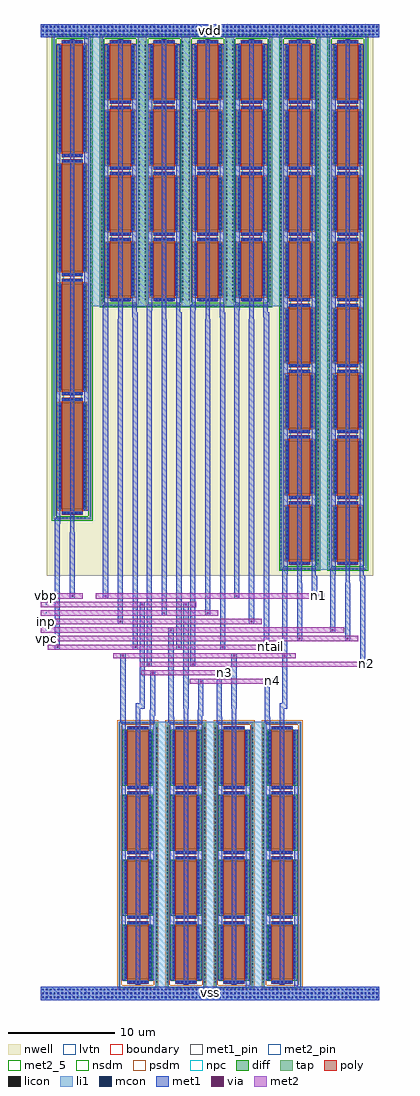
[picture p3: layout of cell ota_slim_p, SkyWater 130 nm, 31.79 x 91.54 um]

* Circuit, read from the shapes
.subckt ota_slim_p inn inp n1 n2 n3 n4 nc1 ntail out vbp vdd vnc vpc vss
XM1 n3 vnc nc1 vss sky130_fd_pr__nfet_01v8 w=5 l=2 m=4
XM2 n4 vnc out vss sky130_fd_pr__nfet_01v8 w=5 l=2 m=4
XM3 vss nc1 n3 vss sky130_fd_pr__nfet_01v8 w=5 l=2 m=4
XM4 vss nc1 n4 vss sky130_fd_pr__nfet_01v8 w=5 l=2 m=4
XM5 vdd vbp ntail vdd sky130_fd_pr__pfet_01v8 w=10 l=2 m=4
XM6 ntail inp n1 vdd sky130_fd_pr__pfet_01v8_lvt w=5 l=2 m=8
XM7 ntail inn n2 vdd sky130_fd_pr__pfet_01v8_lvt w=5 l=2 m=8
XM8 n1 vpc nc1 vdd sky130_fd_pr__pfet_01v8_lvt w=5 l=2 m=8
XM9 n2 vpc out vdd sky130_fd_pr__pfet_01v8_lvt w=5 l=2 m=8
.ends

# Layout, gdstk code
import gdstk
lib = gdstk.Library(unit=1e-6, precision=1e-09)
def R(c, l, rs):  # rectangles x0, y0, x1, y1
    for r in rs: c.add(gdstk.rectangle(r[:2], r[2:], *l))
def A(c, l, x, y, w, h, nx, ny, dx, dy):  # array of equal rectangles
    R(c, l, [(x+i*dx, y+j*dy, x+i*dx+w, y+j*dy+h) for i in range(nx) for j in range(ny)])
nwell = (64, 20)
diff = (65, 20)
tap = (65, 44)
poly = (66, 20)
licon = (66, 44)
li1 = (67, 20)
mcon = (67, 44)
met1_pin = (68, 16)
met1 = (68, 20)
via = (68, 44)
met2_5 = (69, 5)
met2_pin = (69, 16)
met2 = (69, 20)
nsdm = (93, 44)
psdm = (94, 20)
npc = (95, 20)
lvtn = (125, 44)
boundary = (235, 4)

sky130_fd_pr__pfet_01v8_ = lib.new_cell('sky130_fd_pr__pfet_01v8_C2FLFE')
R(sky130_fd_pr__pfet_01v8_, nwell, [(-1.98,-22.865,1.98,22.865)])
A(sky130_fd_pr__pfet_01v8_, diff, -1.29, -21.77, 2.58, 10, 1, 4, 0, 11.18)
R(sky130_fd_pr__pfet_01v8_, tap, [(-1.8,-22.685,1.8,-22.515), (-1.8,-22.515,-1.63,22.515), (1.63,-22.515,1.8,22.515), (-1.8,22.515,1.8,22.685)])
A(sky130_fd_pr__pfet_01v8_, poly, -1, -22.255, 2, 10.97, 1, 4, 0, 11.18)
A(sky130_fd_pr__pfet_01v8_, licon, -1.275, -22.685, 0.17, 0.17, 8, 2, 0.34, 45.2)
A(sky130_fd_pr__pfet_01v8_, licon, -1.8, -22.185, 0.17, 0.17, 1, 131, 0, 0.34)
A(sky130_fd_pr__pfet_01v8_, licon, 1.63, -22.185, 0.17, 0.17, 1, 131, 0, 0.34)
A(sky130_fd_pr__pfet_01v8_, licon, -0.765, -22.175, 0.17, 0.17, 5, 2, 0.34, 10.64)
A(sky130_fd_pr__pfet_01v8_, licon, -1.23, -21.615, 0.17, 0.17, 1, 29, 0, 0.34)
A(sky130_fd_pr__pfet_01v8_, licon, 1.06, -21.615, 0.17, 0.17, 1, 29, 0, 0.34)
A(sky130_fd_pr__pfet_01v8_, licon, -0.765, -10.995, 0.17, 0.17, 5, 2, 0.34, 10.64)
A(sky130_fd_pr__pfet_01v8_, licon, -1.23, -10.435, 0.17, 0.17, 1, 29, 0, 0.34)
A(sky130_fd_pr__pfet_01v8_, licon, 1.06, -10.435, 0.17, 0.17, 1, 29, 0, 0.34)
A(sky130_fd_pr__pfet_01v8_, licon, -0.765, 0.185, 0.17, 0.17, 5, 2, 0.34, 10.64)
A(sky130_fd_pr__pfet_01v8_, licon, -1.23, 0.745, 0.17, 0.17, 1, 29, 0, 0.34)
A(sky130_fd_pr__pfet_01v8_, licon, 1.06, 0.745, 0.17, 0.17, 1, 29, 0, 0.34)
A(sky130_fd_pr__pfet_01v8_, licon, -0.765, 11.365, 0.17, 0.17, 5, 2, 0.34, 10.64)
A(sky130_fd_pr__pfet_01v8_, licon, -1.23, 11.925, 0.17, 0.17, 1, 29, 0, 0.34)
A(sky130_fd_pr__pfet_01v8_, licon, 1.06, 11.925, 0.17, 0.17, 1, 29, 0, 0.34)
A(sky130_fd_pr__pfet_01v8_, li1, -1.23, -21.79, 0.17, 10.04, 1, 4, 0, 11.18)
A(sky130_fd_pr__pfet_01v8_, li1, 1.06, -21.79, 0.17, 10.04, 1, 4, 0, 11.18)
R(sky130_fd_pr__pfet_01v8_, li1, [(-1.8,-22.685,1.8,-22.515), (-1.8,-22.515,-1.63,22.515), (1.63,-22.515,1.8,22.515), (-1,-22.175,1,-22.005), (-1,-11.535,1,-11.365), (-1,-10.995,1,-10.825), (-1,-0.355,1,-0.185), (-1,0.185,1,0.355), (-1,10.825,1,10.995), (-1,11.365,1,11.535), (-1,22.005,1,22.175), (-1.8,22.515,1.8,22.685)])
A(sky130_fd_pr__pfet_01v8_, mcon, -0.805, -22.175, 0.17, 0.17, 5, 2, 0.36, 10.64)
A(sky130_fd_pr__pfet_01v8_, mcon, -1.23, -21.535, 0.17, 0.17, 1, 27, 0, 0.36)
A(sky130_fd_pr__pfet_01v8_, mcon, 1.06, -21.535, 0.17, 0.17, 1, 27, 0, 0.36)
A(sky130_fd_pr__pfet_01v8_, mcon, -0.805, -10.995, 0.17, 0.17, 5, 2, 0.36, 10.64)
A(sky130_fd_pr__pfet_01v8_, mcon, -1.23, -10.355, 0.17, 0.17, 1, 27, 0, 0.36)
A(sky130_fd_pr__pfet_01v8_, mcon, 1.06, -10.355, 0.17, 0.17, 1, 27, 0, 0.36)
A(sky130_fd_pr__pfet_01v8_, mcon, -0.805, 0.185, 0.17, 0.17, 5, 2, 0.36, 10.64)
A(sky130_fd_pr__pfet_01v8_, mcon, -1.23, 0.825, 0.17, 0.17, 1, 27, 0, 0.36)
A(sky130_fd_pr__pfet_01v8_, mcon, 1.06, 0.825, 0.17, 0.17, 1, 27, 0, 0.36)
A(sky130_fd_pr__pfet_01v8_, mcon, -0.805, 11.365, 0.17, 0.17, 5, 2, 0.36, 10.64)
A(sky130_fd_pr__pfet_01v8_, mcon, -1.23, 12.005, 0.17, 0.17, 1, 27, 0, 0.36)
A(sky130_fd_pr__pfet_01v8_, mcon, 1.06, 12.005, 0.17, 0.17, 1, 27, 0, 0.36)
A(sky130_fd_pr__pfet_01v8_, met1, -1.26, -21.77, 0.23, 10, 1, 4, 0, 11.18)
A(sky130_fd_pr__pfet_01v8_, met1, 1.03, -21.77, 0.23, 10, 1, 4, 0, 11.18)
R(sky130_fd_pr__pfet_01v8_, met1, [(-0.98,-22.205,0.98,-21.975), (-0.98,-11.565,0.98,-11.335), (-0.98,-11.025,0.98,-10.795), (-0.98,-0.385,0.98,-0.155), (-0.98,0.155,0.98,0.385), (-0.98,10.795,0.98,11.025), (-0.98,11.335,0.98,11.565), (-0.98,21.975,0.98,22.205)])
R(sky130_fd_pr__pfet_01v8_, nsdm, [(-1.925,-22.81,1.925,-22.39), (-1.925,-22.39,-1.505,22.39), (1.505,-22.39,1.925,22.39), (-1.925,22.39,1.925,22.81)])
A(sky130_fd_pr__pfet_01v8_, psdm, -1.415, -21.895, 2.83, 10.25, 1, 4, 0, 11.18)
A(sky130_fd_pr__pfet_01v8_, npc, -0.865, -11.635, 1.73, 0.91, 1, 3, 0, 11.18)
R(sky130_fd_pr__pfet_01v8_, npc, [(-0.865,-22.275,0.865,-21.905), (-0.865,21.905,0.865,22.275)])
R(sky130_fd_pr__pfet_01v8_, boundary, [(-1.715,-22.6,1.715,22.6)])
sky130_fd_pr__pfet_01v8_.add(gdstk.Label('B', (0,-22.6), layer=67, texttype=5))
sky130_fd_pr__pfet_01v8_.add(gdstk.Label('D0', (-1.145,-16.77), layer=67, texttype=5))
sky130_fd_pr__pfet_01v8_.add(gdstk.Label('S0', (1.145,-16.77), layer=67, texttype=5))
sky130_fd_pr__pfet_01v8_.add(gdstk.Label('G0', (0,-11.45), layer=67, texttype=5))
sky130_fd_pr__pfet_01v8_.add(gdstk.Label('D1', (-1.145,-5.59), layer=67, texttype=5))
sky130_fd_pr__pfet_01v8_.add(gdstk.Label('S1', (1.145,-5.59), layer=67, texttype=5))
sky130_fd_pr__pfet_01v8_.add(gdstk.Label('G1', (0,-0.27), layer=67, texttype=5))
sky130_fd_pr__pfet_01v8_.add(gdstk.Label('D2', (-1.145,5.59), layer=67, texttype=5))
sky130_fd_pr__pfet_01v8_.add(gdstk.Label('S2', (1.145,5.59), layer=67, texttype=5))
sky130_fd_pr__pfet_01v8_.add(gdstk.Label('G2', (0,10.91), layer=67, texttype=5))
sky130_fd_pr__pfet_01v8_.add(gdstk.Label('D3', (-1.145,16.77), layer=67, texttype=5))
sky130_fd_pr__pfet_01v8_.add(gdstk.Label('S3', (1.145,16.77), layer=67, texttype=5))
sky130_fd_pr__pfet_01v8_.add(gdstk.Label('G3', (0,22.09), layer=67, texttype=5))

sky130_fd_pr__nfet_01v8_ = lib.new_cell('sky130_fd_pr__nfet_01v8_SKCTXS')
A(sky130_fd_pr__nfet_01v8_, diff, -1.29, -11.635, 2.58, 5, 1, 4, 0, 6.09)
R(sky130_fd_pr__nfet_01v8_, tap, [(-1.8,-12.505,1.8,-12.335), (-1.8,-12.335,-1.63,12.335), (1.63,-12.335,1.8,12.335), (-1.8,12.335,1.8,12.505)])
A(sky130_fd_pr__nfet_01v8_, poly, -1, -12.075, 2, 5.88, 1, 4, 0, 6.09)
A(sky130_fd_pr__nfet_01v8_, licon, -1.275, -12.505, 0.17, 0.17, 8, 2, 0.34, 24.84)
A(sky130_fd_pr__nfet_01v8_, licon, -0.765, -11.995, 0.17, 0.17, 5, 2, 0.34, 5.55)
A(sky130_fd_pr__nfet_01v8_, licon, -1.8, -11.985, 0.17, 0.17, 1, 71, 0, 0.34)
A(sky130_fd_pr__nfet_01v8_, licon, 1.63, -11.985, 0.17, 0.17, 1, 71, 0, 0.34)
A(sky130_fd_pr__nfet_01v8_, licon, -1.23, -11.43, 0.17, 0.17, 1, 14, 0, 0.34)
A(sky130_fd_pr__nfet_01v8_, licon, 1.06, -11.43, 0.17, 0.17, 1, 14, 0, 0.34)
A(sky130_fd_pr__nfet_01v8_, licon, -0.765, -5.905, 0.17, 0.17, 5, 2, 0.34, 5.55)
A(sky130_fd_pr__nfet_01v8_, licon, -1.23, -5.34, 0.17, 0.17, 1, 14, 0, 0.34)
A(sky130_fd_pr__nfet_01v8_, licon, 1.06, -5.34, 0.17, 0.17, 1, 14, 0, 0.34)
A(sky130_fd_pr__nfet_01v8_, licon, -0.765, 0.185, 0.17, 0.17, 5, 2, 0.34, 5.55)
A(sky130_fd_pr__nfet_01v8_, licon, -1.23, 0.75, 0.17, 0.17, 1, 14, 0, 0.34)
A(sky130_fd_pr__nfet_01v8_, licon, 1.06, 0.75, 0.17, 0.17, 1, 14, 0, 0.34)
A(sky130_fd_pr__nfet_01v8_, licon, -0.765, 6.275, 0.17, 0.17, 5, 2, 0.34, 5.55)
A(sky130_fd_pr__nfet_01v8_, licon, -1.23, 6.84, 0.17, 0.17, 1, 14, 0, 0.34)
A(sky130_fd_pr__nfet_01v8_, licon, 1.06, 6.84, 0.17, 0.17, 1, 14, 0, 0.34)
A(sky130_fd_pr__nfet_01v8_, li1, -1.23, -11.655, 0.17, 5.04, 1, 4, 0, 6.09)
A(sky130_fd_pr__nfet_01v8_, li1, 1.06, -11.655, 0.17, 5.04, 1, 4, 0, 6.09)
R(sky130_fd_pr__nfet_01v8_, li1, [(-1.8,-12.505,1.8,-12.335), (-1.8,-12.335,-1.63,12.335), (1.63,-12.335,1.8,12.335), (-1,-11.995,1,-11.825), (-1,-6.445,1,-6.275), (-1,-5.905,1,-5.735), (-1,-0.355,1,-0.185), (-1,0.185,1,0.355), (-1,5.735,1,5.905), (-1,6.275,1,6.445), (-1,11.825,1,11.995), (-1.8,12.335,1.8,12.505)])
A(sky130_fd_pr__nfet_01v8_, mcon, -0.805, -11.995, 0.17, 0.17, 5, 2, 0.36, 5.55)
A(sky130_fd_pr__nfet_01v8_, mcon, -1.23, -11.56, 0.17, 0.17, 1, 14, 0, 0.36)
A(sky130_fd_pr__nfet_01v8_, mcon, 1.06, -11.56, 0.17, 0.17, 1, 14, 0, 0.36)
A(sky130_fd_pr__nfet_01v8_, mcon, -0.805, -5.905, 0.17, 0.17, 5, 2, 0.36, 5.55)
A(sky130_fd_pr__nfet_01v8_, mcon, -1.23, -5.47, 0.17, 0.17, 1, 14, 0, 0.36)
A(sky130_fd_pr__nfet_01v8_, mcon, 1.06, -5.47, 0.17, 0.17, 1, 14, 0, 0.36)
A(sky130_fd_pr__nfet_01v8_, mcon, -0.805, 0.185, 0.17, 0.17, 5, 2, 0.36, 5.55)
A(sky130_fd_pr__nfet_01v8_, mcon, -1.23, 0.62, 0.17, 0.17, 1, 14, 0, 0.36)
A(sky130_fd_pr__nfet_01v8_, mcon, 1.06, 0.62, 0.17, 0.17, 1, 14, 0, 0.36)
A(sky130_fd_pr__nfet_01v8_, mcon, -0.805, 6.275, 0.17, 0.17, 5, 2, 0.36, 5.55)
A(sky130_fd_pr__nfet_01v8_, mcon, -1.23, 6.71, 0.17, 0.17, 1, 14, 0, 0.36)
A(sky130_fd_pr__nfet_01v8_, mcon, 1.06, 6.71, 0.17, 0.17, 1, 14, 0, 0.36)
A(sky130_fd_pr__nfet_01v8_, met1, -1.26, -11.635, 0.23, 5, 1, 4, 0, 6.09)
A(sky130_fd_pr__nfet_01v8_, met1, 1.03, -11.635, 0.23, 5, 1, 4, 0, 6.09)
R(sky130_fd_pr__nfet_01v8_, met1, [(-0.98,-12.025,0.98,-11.795), (-0.98,-6.475,0.98,-6.245), (-0.98,-5.935,0.98,-5.705), (-0.98,-0.385,0.98,-0.155), (-0.98,0.155,0.98,0.385), (-0.98,5.705,0.98,5.935), (-0.98,6.245,0.98,6.475), (-0.98,11.795,0.98,12.025)])
A(sky130_fd_pr__nfet_01v8_, nsdm, -1.415, -11.76, 2.83, 5.25, 1, 4, 0, 6.09)
R(sky130_fd_pr__nfet_01v8_, psdm, [(-1.925,-12.63,1.925,-12.21), (-1.925,-12.21,-1.505,12.21), (1.505,-12.21,1.925,12.21), (-1.925,12.21,1.925,12.63)])
A(sky130_fd_pr__nfet_01v8_, npc, -0.865, -6.545, 1.73, 0.91, 1, 3, 0, 6.09)
R(sky130_fd_pr__nfet_01v8_, npc, [(-0.865,-12.095,0.865,-11.725), (-0.865,11.725,0.865,12.095)])
R(sky130_fd_pr__nfet_01v8_, boundary, [(-1.715,-12.42,1.715,12.42)])
sky130_fd_pr__nfet_01v8_.add(gdstk.Label('B', (0,-12.42), layer=67, texttype=5))
sky130_fd_pr__nfet_01v8_.add(gdstk.Label('D0', (-1.145,-9.135), layer=67, texttype=5))
sky130_fd_pr__nfet_01v8_.add(gdstk.Label('S0', (1.145,-9.135), layer=67, texttype=5))
sky130_fd_pr__nfet_01v8_.add(gdstk.Label('G0', (0,-6.36), layer=67, texttype=5))
sky130_fd_pr__nfet_01v8_.add(gdstk.Label('D1', (-1.145,-3.045), layer=67, texttype=5))
sky130_fd_pr__nfet_01v8_.add(gdstk.Label('S1', (1.145,-3.045), layer=67, texttype=5))
sky130_fd_pr__nfet_01v8_.add(gdstk.Label('G1', (0,-0.27), layer=67, texttype=5))
sky130_fd_pr__nfet_01v8_.add(gdstk.Label('D2', (-1.145,3.045), layer=67, texttype=5))
sky130_fd_pr__nfet_01v8_.add(gdstk.Label('S2', (1.145,3.045), layer=67, texttype=5))
sky130_fd_pr__nfet_01v8_.add(gdstk.Label('G2', (0,5.82), layer=67, texttype=5))
sky130_fd_pr__nfet_01v8_.add(gdstk.Label('D3', (-1.145,9.135), layer=67, texttype=5))
sky130_fd_pr__nfet_01v8_.add(gdstk.Label('S3', (1.145,9.135), layer=67, texttype=5))
sky130_fd_pr__nfet_01v8_.add(gdstk.Label('G3', (0,11.91), layer=67, texttype=5))

c_sky130_fd_pr__pfet_01v8_ = lib.new_cell('sky130_fd_pr__pfet_01v8_lvt_K3L598')
R(c_sky130_fd_pr__pfet_01v8_, nwell, [(-1.98,-12.865,1.98,12.865)])
A(c_sky130_fd_pr__pfet_01v8_, diff, -1.29, -11.77, 2.58, 5, 1, 4, 0, 6.18)
R(c_sky130_fd_pr__pfet_01v8_, tap, [(-1.8,-12.685,1.8,-12.515), (-1.8,-12.515,-1.63,12.515), (1.63,-12.515,1.8,12.515), (-1.8,12.515,1.8,12.685)])
A(c_sky130_fd_pr__pfet_01v8_, poly, -1, -12.255, 2, 5.97, 1, 4, 0, 6.18)
A(c_sky130_fd_pr__pfet_01v8_, licon, -1.275, -12.685, 0.17, 0.17, 8, 2, 0.34, 25.2)
A(c_sky130_fd_pr__pfet_01v8_, licon, -0.765, -12.175, 0.17, 0.17, 5, 2, 0.34, 5.64)
A(c_sky130_fd_pr__pfet_01v8_, licon, -1.8, -12.155, 0.17, 0.17, 1, 72, 0, 0.34)
A(c_sky130_fd_pr__pfet_01v8_, licon, 1.63, -12.155, 0.17, 0.17, 1, 72, 0, 0.34)
A(c_sky130_fd_pr__pfet_01v8_, licon, -1.23, -11.565, 0.17, 0.17, 1, 14, 0, 0.34)
A(c_sky130_fd_pr__pfet_01v8_, licon, 1.06, -11.565, 0.17, 0.17, 1, 14, 0, 0.34)
A(c_sky130_fd_pr__pfet_01v8_, licon, -0.765, -5.995, 0.17, 0.17, 5, 2, 0.34, 5.64)
A(c_sky130_fd_pr__pfet_01v8_, licon, -1.23, -5.385, 0.17, 0.17, 1, 14, 0, 0.34)
A(c_sky130_fd_pr__pfet_01v8_, licon, 1.06, -5.385, 0.17, 0.17, 1, 14, 0, 0.34)
A(c_sky130_fd_pr__pfet_01v8_, licon, -0.765, 0.185, 0.17, 0.17, 5, 2, 0.34, 5.64)
A(c_sky130_fd_pr__pfet_01v8_, licon, -1.23, 0.795, 0.17, 0.17, 1, 14, 0, 0.34)
A(c_sky130_fd_pr__pfet_01v8_, licon, 1.06, 0.795, 0.17, 0.17, 1, 14, 0, 0.34)
A(c_sky130_fd_pr__pfet_01v8_, licon, -0.765, 6.365, 0.17, 0.17, 5, 2, 0.34, 5.64)
A(c_sky130_fd_pr__pfet_01v8_, licon, -1.23, 6.975, 0.17, 0.17, 1, 14, 0, 0.34)
A(c_sky130_fd_pr__pfet_01v8_, licon, 1.06, 6.975, 0.17, 0.17, 1, 14, 0, 0.34)
A(c_sky130_fd_pr__pfet_01v8_, li1, -1.23, -11.79, 0.17, 5.04, 1, 4, 0, 6.18)
A(c_sky130_fd_pr__pfet_01v8_, li1, 1.06, -11.79, 0.17, 5.04, 1, 4, 0, 6.18)
R(c_sky130_fd_pr__pfet_01v8_, li1, [(-1.8,-12.685,1.8,-12.515), (-1.8,-12.515,-1.63,12.515), (1.63,-12.515,1.8,12.515), (-1,-12.175,1,-12.005), (-1,-6.535,1,-6.365), (-1,-5.995,1,-5.825), (-1,-0.355,1,-0.185), (-1,0.185,1,0.355), (-1,5.825,1,5.995), (-1,6.365,1,6.535), (-1,12.005,1,12.175), (-1.8,12.515,1.8,12.685)])
A(c_sky130_fd_pr__pfet_01v8_, mcon, -0.805, -12.175, 0.17, 0.17, 5, 2, 0.36, 5.64)
A(c_sky130_fd_pr__pfet_01v8_, mcon, -1.23, -11.695, 0.17, 0.17, 1, 14, 0, 0.36)
A(c_sky130_fd_pr__pfet_01v8_, mcon, 1.06, -11.695, 0.17, 0.17, 1, 14, 0, 0.36)
A(c_sky130_fd_pr__pfet_01v8_, mcon, -0.805, -5.995, 0.17, 0.17, 5, 2, 0.36, 5.64)
A(c_sky130_fd_pr__pfet_01v8_, mcon, -1.23, -5.515, 0.17, 0.17, 1, 14, 0, 0.36)
A(c_sky130_fd_pr__pfet_01v8_, mcon, 1.06, -5.515, 0.17, 0.17, 1, 14, 0, 0.36)
A(c_sky130_fd_pr__pfet_01v8_, mcon, -0.805, 0.185, 0.17, 0.17, 5, 2, 0.36, 5.64)
A(c_sky130_fd_pr__pfet_01v8_, mcon, -1.23, 0.665, 0.17, 0.17, 1, 14, 0, 0.36)
A(c_sky130_fd_pr__pfet_01v8_, mcon, 1.06, 0.665, 0.17, 0.17, 1, 14, 0, 0.36)
A(c_sky130_fd_pr__pfet_01v8_, mcon, -0.805, 6.365, 0.17, 0.17, 5, 2, 0.36, 5.64)
A(c_sky130_fd_pr__pfet_01v8_, mcon, -1.23, 6.845, 0.17, 0.17, 1, 14, 0, 0.36)
A(c_sky130_fd_pr__pfet_01v8_, mcon, 1.06, 6.845, 0.17, 0.17, 1, 14, 0, 0.36)
A(c_sky130_fd_pr__pfet_01v8_, met1, -1.26, -11.77, 0.23, 5, 1, 4, 0, 6.18)
A(c_sky130_fd_pr__pfet_01v8_, met1, 1.03, -11.77, 0.23, 5, 1, 4, 0, 6.18)
R(c_sky130_fd_pr__pfet_01v8_, met1, [(-0.98,-12.205,0.98,-11.975), (-0.98,-6.565,0.98,-6.335), (-0.98,-6.025,0.98,-5.795), (-0.98,-0.385,0.98,-0.155), (-0.98,0.155,0.98,0.385), (-0.98,5.795,0.98,6.025), (-0.98,6.335,0.98,6.565), (-0.98,11.975,0.98,12.205)])
R(c_sky130_fd_pr__pfet_01v8_, nsdm, [(-1.925,-12.81,1.925,-12.39), (-1.925,-12.39,-1.505,12.39), (1.505,-12.39,1.925,12.39), (-1.925,12.39,1.925,12.81)])
A(c_sky130_fd_pr__pfet_01v8_, psdm, -1.415, -11.895, 2.83, 5.25, 1, 4, 0, 6.18)
A(c_sky130_fd_pr__pfet_01v8_, npc, -0.865, -6.635, 1.73, 0.91, 1, 3, 0, 6.18)
R(c_sky130_fd_pr__pfet_01v8_, npc, [(-0.865,-12.275,0.865,-11.905), (-0.865,11.905,0.865,12.275)])
A(c_sky130_fd_pr__pfet_01v8_, lvtn, -1.18, -11.95, 2.36, 5.36, 1, 4, 0, 6.18)
R(c_sky130_fd_pr__pfet_01v8_, boundary, [(-1.715,-12.6,1.715,12.6)])
c_sky130_fd_pr__pfet_01v8_.add(gdstk.Label('B', (0,-12.6), layer=67, texttype=5))
c_sky130_fd_pr__pfet_01v8_.add(gdstk.Label('D0', (-1.145,-9.27), layer=67, texttype=5))
c_sky130_fd_pr__pfet_01v8_.add(gdstk.Label('S0', (1.145,-9.27), layer=67, texttype=5))
c_sky130_fd_pr__pfet_01v8_.add(gdstk.Label('G0', (0,-6.45), layer=67, texttype=5))
c_sky130_fd_pr__pfet_01v8_.add(gdstk.Label('D1', (-1.145,-3.09), layer=67, texttype=5))
c_sky130_fd_pr__pfet_01v8_.add(gdstk.Label('S1', (1.145,-3.09), layer=67, texttype=5))
c_sky130_fd_pr__pfet_01v8_.add(gdstk.Label('G1', (0,-0.27), layer=67, texttype=5))
c_sky130_fd_pr__pfet_01v8_.add(gdstk.Label('D2', (-1.145,3.09), layer=67, texttype=5))
c_sky130_fd_pr__pfet_01v8_.add(gdstk.Label('S2', (1.145,3.09), layer=67, texttype=5))
c_sky130_fd_pr__pfet_01v8_.add(gdstk.Label('G2', (0,5.91), layer=67, texttype=5))
c_sky130_fd_pr__pfet_01v8_.add(gdstk.Label('D3', (-1.145,9.27), layer=67, texttype=5))
c_sky130_fd_pr__pfet_01v8_.add(gdstk.Label('S3', (1.145,9.27), layer=67, texttype=5))
c_sky130_fd_pr__pfet_01v8_.add(gdstk.Label('G3', (0,12.09), layer=67, texttype=5))

c_sky130_fd_pr__pfet_01v8__ = lib.new_cell('sky130_fd_pr__pfet_01v8_lvt_85BCEJ')
R(c_sky130_fd_pr__pfet_01v8__, nwell, [(-1.98,-25.225,1.98,25.225)])
A(c_sky130_fd_pr__pfet_01v8__, diff, -1.29, -24.13, 2.58, 5, 1, 8, 0, 6.18)
R(c_sky130_fd_pr__pfet_01v8__, tap, [(-1.8,-25.045,1.8,-24.875), (-1.8,-24.875,-1.63,24.875), (1.63,-24.875,1.8,24.875), (-1.8,24.875,1.8,25.045)])
A(c_sky130_fd_pr__pfet_01v8__, poly, -1, -24.615, 2, 5.97, 1, 8, 0, 6.18)
A(c_sky130_fd_pr__pfet_01v8__, licon, -1.275, -25.045, 0.17, 0.17, 8, 2, 0.34, 49.92)
A(c_sky130_fd_pr__pfet_01v8__, licon, -1.8, -24.565, 0.17, 0.17, 1, 145, 0, 0.34)
A(c_sky130_fd_pr__pfet_01v8__, licon, 1.63, -24.565, 0.17, 0.17, 1, 145, 0, 0.34)
A(c_sky130_fd_pr__pfet_01v8__, licon, -0.765, -24.535, 0.17, 0.17, 5, 2, 0.34, 5.64)
A(c_sky130_fd_pr__pfet_01v8__, licon, -1.23, -23.925, 0.17, 0.17, 1, 14, 0, 0.34)
A(c_sky130_fd_pr__pfet_01v8__, licon, 1.06, -23.925, 0.17, 0.17, 1, 14, 0, 0.34)
A(c_sky130_fd_pr__pfet_01v8__, licon, -0.765, -18.355, 0.17, 0.17, 5, 2, 0.34, 5.64)
A(c_sky130_fd_pr__pfet_01v8__, licon, -1.23, -17.745, 0.17, 0.17, 1, 14, 0, 0.34)
A(c_sky130_fd_pr__pfet_01v8__, licon, 1.06, -17.745, 0.17, 0.17, 1, 14, 0, 0.34)
A(c_sky130_fd_pr__pfet_01v8__, licon, -0.765, -12.175, 0.17, 0.17, 5, 2, 0.34, 5.64)
A(c_sky130_fd_pr__pfet_01v8__, licon, -1.23, -11.565, 0.17, 0.17, 1, 14, 0, 0.34)
A(c_sky130_fd_pr__pfet_01v8__, licon, 1.06, -11.565, 0.17, 0.17, 1, 14, 0, 0.34)
A(c_sky130_fd_pr__pfet_01v8__, licon, -0.765, -5.995, 0.17, 0.17, 5, 2, 0.34, 5.64)
A(c_sky130_fd_pr__pfet_01v8__, licon, -1.23, -5.385, 0.17, 0.17, 1, 14, 0, 0.34)
A(c_sky130_fd_pr__pfet_01v8__, licon, 1.06, -5.385, 0.17, 0.17, 1, 14, 0, 0.34)
A(c_sky130_fd_pr__pfet_01v8__, licon, -0.765, 0.185, 0.17, 0.17, 5, 2, 0.34, 5.64)
A(c_sky130_fd_pr__pfet_01v8__, licon, -1.23, 0.795, 0.17, 0.17, 1, 14, 0, 0.34)
A(c_sky130_fd_pr__pfet_01v8__, licon, 1.06, 0.795, 0.17, 0.17, 1, 14, 0, 0.34)
A(c_sky130_fd_pr__pfet_01v8__, licon, -0.765, 6.365, 0.17, 0.17, 5, 2, 0.34, 5.64)
A(c_sky130_fd_pr__pfet_01v8__, licon, -1.23, 6.975, 0.17, 0.17, 1, 14, 0, 0.34)
A(c_sky130_fd_pr__pfet_01v8__, licon, 1.06, 6.975, 0.17, 0.17, 1, 14, 0, 0.34)
A(c_sky130_fd_pr__pfet_01v8__, licon, -0.765, 12.545, 0.17, 0.17, 5, 2, 0.34, 5.64)
A(c_sky130_fd_pr__pfet_01v8__, licon, -1.23, 13.155, 0.17, 0.17, 1, 14, 0, 0.34)
A(c_sky130_fd_pr__pfet_01v8__, licon, 1.06, 13.155, 0.17, 0.17, 1, 14, 0, 0.34)
A(c_sky130_fd_pr__pfet_01v8__, licon, -0.765, 18.725, 0.17, 0.17, 5, 2, 0.34, 5.64)
A(c_sky130_fd_pr__pfet_01v8__, licon, -1.23, 19.335, 0.17, 0.17, 1, 14, 0, 0.34)
A(c_sky130_fd_pr__pfet_01v8__, licon, 1.06, 19.335, 0.17, 0.17, 1, 14, 0, 0.34)
A(c_sky130_fd_pr__pfet_01v8__, li1, -1.23, -24.15, 0.17, 5.04, 1, 8, 0, 6.18)
A(c_sky130_fd_pr__pfet_01v8__, li1, 1.06, -24.15, 0.17, 5.04, 1, 8, 0, 6.18)
R(c_sky130_fd_pr__pfet_01v8__, li1, [(-1.8,-25.045,1.8,-24.875), (-1.8,-24.875,-1.63,24.875), (1.63,-24.875,1.8,24.875), (-1,-24.535,1,-24.365), (-1,-18.895,1,-18.725), (-1,-18.355,1,-18.185), (-1,-12.715,1,-12.545), (-1,-12.175,1,-12.005), (-1,-6.535,1,-6.365), (-1,-5.995,1,-5.825), (-1,-0.355,1,-0.185), (-1,0.185,1,0.355), (-1,5.825,1,5.995), (-1,6.365,1,6.535), (-1,12.005,1,12.175), (-1,12.545,1,12.715), (-1,18.185,1,18.355), (-1,18.725,1,18.895), (-1,24.365,1,24.535), (-1.8,24.875,1.8,25.045)])
A(c_sky130_fd_pr__pfet_01v8__, mcon, -0.805, -24.535, 0.17, 0.17, 5, 2, 0.36, 5.64)
A(c_sky130_fd_pr__pfet_01v8__, mcon, -1.23, -24.055, 0.17, 0.17, 1, 14, 0, 0.36)
A(c_sky130_fd_pr__pfet_01v8__, mcon, 1.06, -24.055, 0.17, 0.17, 1, 14, 0, 0.36)
A(c_sky130_fd_pr__pfet_01v8__, mcon, -0.805, -18.355, 0.17, 0.17, 5, 2, 0.36, 5.64)
A(c_sky130_fd_pr__pfet_01v8__, mcon, -1.23, -17.875, 0.17, 0.17, 1, 14, 0, 0.36)
A(c_sky130_fd_pr__pfet_01v8__, mcon, 1.06, -17.875, 0.17, 0.17, 1, 14, 0, 0.36)
A(c_sky130_fd_pr__pfet_01v8__, mcon, -0.805, -12.175, 0.17, 0.17, 5, 2, 0.36, 5.64)
A(c_sky130_fd_pr__pfet_01v8__, mcon, -1.23, -11.695, 0.17, 0.17, 1, 14, 0, 0.36)
A(c_sky130_fd_pr__pfet_01v8__, mcon, 1.06, -11.695, 0.17, 0.17, 1, 14, 0, 0.36)
A(c_sky130_fd_pr__pfet_01v8__, mcon, -0.805, -5.995, 0.17, 0.17, 5, 2, 0.36, 5.64)
A(c_sky130_fd_pr__pfet_01v8__, mcon, -1.23, -5.515, 0.17, 0.17, 1, 14, 0, 0.36)
A(c_sky130_fd_pr__pfet_01v8__, mcon, 1.06, -5.515, 0.17, 0.17, 1, 14, 0, 0.36)
A(c_sky130_fd_pr__pfet_01v8__, mcon, -0.805, 0.185, 0.17, 0.17, 5, 2, 0.36, 5.64)
A(c_sky130_fd_pr__pfet_01v8__, mcon, -1.23, 0.665, 0.17, 0.17, 1, 14, 0, 0.36)
A(c_sky130_fd_pr__pfet_01v8__, mcon, 1.06, 0.665, 0.17, 0.17, 1, 14, 0, 0.36)
A(c_sky130_fd_pr__pfet_01v8__, mcon, -0.805, 6.365, 0.17, 0.17, 5, 2, 0.36, 5.64)
A(c_sky130_fd_pr__pfet_01v8__, mcon, -1.23, 6.845, 0.17, 0.17, 1, 14, 0, 0.36)
A(c_sky130_fd_pr__pfet_01v8__, mcon, 1.06, 6.845, 0.17, 0.17, 1, 14, 0, 0.36)
A(c_sky130_fd_pr__pfet_01v8__, mcon, -0.805, 12.545, 0.17, 0.17, 5, 2, 0.36, 5.64)
A(c_sky130_fd_pr__pfet_01v8__, mcon, -1.23, 13.025, 0.17, 0.17, 1, 14, 0, 0.36)
A(c_sky130_fd_pr__pfet_01v8__, mcon, 1.06, 13.025, 0.17, 0.17, 1, 14, 0, 0.36)
A(c_sky130_fd_pr__pfet_01v8__, mcon, -0.805, 18.725, 0.17, 0.17, 5, 2, 0.36, 5.64)
A(c_sky130_fd_pr__pfet_01v8__, mcon, -1.23, 19.205, 0.17, 0.17, 1, 14, 0, 0.36)
A(c_sky130_fd_pr__pfet_01v8__, mcon, 1.06, 19.205, 0.17, 0.17, 1, 14, 0, 0.36)
A(c_sky130_fd_pr__pfet_01v8__, met1, -1.26, -24.13, 0.23, 5, 1, 8, 0, 6.18)
A(c_sky130_fd_pr__pfet_01v8__, met1, 1.03, -24.13, 0.23, 5, 1, 8, 0, 6.18)
R(c_sky130_fd_pr__pfet_01v8__, met1, [(-0.98,-24.565,0.98,-24.335), (-0.98,-18.925,0.98,-18.695), (-0.98,-18.385,0.98,-18.155), (-0.98,-12.745,0.98,-12.515), (-0.98,-12.205,0.98,-11.975), (-0.98,-6.565,0.98,-6.335), (-0.98,-6.025,0.98,-5.795), (-0.98,-0.385,0.98,-0.155), (-0.98,0.155,0.98,0.385), (-0.98,5.795,0.98,6.025), (-0.98,6.335,0.98,6.565), (-0.98,11.975,0.98,12.205), (-0.98,12.515,0.98,12.745), (-0.98,18.155,0.98,18.385), (-0.98,18.695,0.98,18.925), (-0.98,24.335,0.98,24.565)])
R(c_sky130_fd_pr__pfet_01v8__, nsdm, [(-1.925,-25.17,1.925,-24.75), (-1.925,-24.75,-1.505,24.75), (1.505,-24.75,1.925,24.75), (-1.925,24.75,1.925,25.17)])
A(c_sky130_fd_pr__pfet_01v8__, psdm, -1.415, -24.255, 2.83, 5.25, 1, 8, 0, 6.18)
A(c_sky130_fd_pr__pfet_01v8__, npc, -0.865, -18.995, 1.73, 0.91, 1, 7, 0, 6.18)
R(c_sky130_fd_pr__pfet_01v8__, npc, [(-0.865,-24.635,0.865,-24.265), (-0.865,24.265,0.865,24.635)])
A(c_sky130_fd_pr__pfet_01v8__, lvtn, -1.18, -24.31, 2.36, 5.36, 1, 8, 0, 6.18)
R(c_sky130_fd_pr__pfet_01v8__, boundary, [(-1.715,-24.96,1.715,24.96)])
c_sky130_fd_pr__pfet_01v8__.add(gdstk.Label('B', (0,-24.96), layer=67, texttype=5))
c_sky130_fd_pr__pfet_01v8__.add(gdstk.Label('D0', (-1.145,-21.63), layer=67, texttype=5))
c_sky130_fd_pr__pfet_01v8__.add(gdstk.Label('S0', (1.145,-21.63), layer=67, texttype=5))
c_sky130_fd_pr__pfet_01v8__.add(gdstk.Label('G0', (0,-18.81), layer=67, texttype=5))
c_sky130_fd_pr__pfet_01v8__.add(gdstk.Label('D1', (-1.145,-15.45), layer=67, texttype=5))
c_sky130_fd_pr__pfet_01v8__.add(gdstk.Label('S1', (1.145,-15.45), layer=67, texttype=5))
c_sky130_fd_pr__pfet_01v8__.add(gdstk.Label('G1', (0,-12.63), layer=67, texttype=5))
c_sky130_fd_pr__pfet_01v8__.add(gdstk.Label('D2', (-1.145,-9.27), layer=67, texttype=5))
c_sky130_fd_pr__pfet_01v8__.add(gdstk.Label('S2', (1.145,-9.27), layer=67, texttype=5))
c_sky130_fd_pr__pfet_01v8__.add(gdstk.Label('G2', (0,-6.45), layer=67, texttype=5))
c_sky130_fd_pr__pfet_01v8__.add(gdstk.Label('D3', (-1.145,-3.09), layer=67, texttype=5))
c_sky130_fd_pr__pfet_01v8__.add(gdstk.Label('S3', (1.145,-3.09), layer=67, texttype=5))
c_sky130_fd_pr__pfet_01v8__.add(gdstk.Label('G3', (0,-0.27), layer=67, texttype=5))
c_sky130_fd_pr__pfet_01v8__.add(gdstk.Label('D4', (-1.145,3.09), layer=67, texttype=5))
c_sky130_fd_pr__pfet_01v8__.add(gdstk.Label('S4', (1.145,3.09), layer=67, texttype=5))
c_sky130_fd_pr__pfet_01v8__.add(gdstk.Label('G4', (0,5.91), layer=67, texttype=5))
c_sky130_fd_pr__pfet_01v8__.add(gdstk.Label('D5', (-1.145,9.27), layer=67, texttype=5))
c_sky130_fd_pr__pfet_01v8__.add(gdstk.Label('S5', (1.145,9.27), layer=67, texttype=5))
c_sky130_fd_pr__pfet_01v8__.add(gdstk.Label('G5', (0,12.09), layer=67, texttype=5))
c_sky130_fd_pr__pfet_01v8__.add(gdstk.Label('D6', (-1.145,15.45), layer=67, texttype=5))
c_sky130_fd_pr__pfet_01v8__.add(gdstk.Label('S6', (1.145,15.45), layer=67, texttype=5))
c_sky130_fd_pr__pfet_01v8__.add(gdstk.Label('G6', (0,18.27), layer=67, texttype=5))
c_sky130_fd_pr__pfet_01v8__.add(gdstk.Label('D7', (-1.145,21.63), layer=67, texttype=5))
c_sky130_fd_pr__pfet_01v8__.add(gdstk.Label('S7', (1.145,21.63), layer=67, texttype=5))
c_sky130_fd_pr__pfet_01v8__.add(gdstk.Label('G7', (0,24.45), layer=67, texttype=5))

ota_slim_p = lib.new_cell('ota_slim_p')
R(ota_slim_p, nwell, [(-0.4,-51.75,30.19,-0.68)])
A(ota_slim_p, tap, 8.29, -26.45, 0.5, 25.37, 3, 1, 4.1, 0)
A(ota_slim_p, li1, 9.93, -90.29, 0.91, 24.84, 3, 1, 4.51, 0)
A(ota_slim_p, li1, 8.29, -26.45, 0.5, 25.2, 3, 1, 4.1, 0)
R(ota_slim_p, li1, [(-1,-91.54,30.79,-90.29), (25.1,-51.17,26.01,-1.25), (3.78,-26.45,4.69,-1.25), (20.59,-26.45,21.5,-1.25), (-1,-1.25,30.79,0)])
A(ota_slim_p, mcon, -0.85, -91.36, 0.17, 0.17, 88, 3, 0.36, 0.36)
A(ota_slim_p, mcon, -0.85, -1.07, 0.17, 0.17, 88, 3, 0.36, 0.36)
R(ota_slim_p, met1_pin, [(14.895,-90.915,14.995,-90.815), (14.895,-0.625,14.995,-0.525)])
A(ota_slim_p, met1, 7.93, -90.12, 0.4, 25.91, 4, 1, 4.51, 0)
A(ota_slim_p, met1, 6.61, -89.7, 0.4, 24.19, 4, 1, 4.51, 0)
A(ota_slim_p, met1, 6.49, -65.51, 0.52, 0.48, 4, 1, 4.51, 0)
A(ota_slim_p, met1, 7.65, -58.69, 0.48, 31.17, 4, 1, 4.1, 0)
A(ota_slim_p, met1, 6.29, -27.69, 0.4, 26.27, 4, 1, 4.1, 0)
A(ota_slim_p, met1, 7.61, -27.52, 0.52, 0.48, 4, 1, 4.1, 0)
A(ota_slim_p, met1, 7.61, -27.04, 0.4, 25.155, 4, 1, 4.1, 0)
A(ota_slim_p, met1, 4.85, -26.87, 0.52, 0.48, 4, 1, 4.1, 0)
A(ota_slim_p, met1, 4.97, -26.39, 0.4, 24.505, 4, 1, 4.1, 0)
R(ota_slim_p, met1, [(-1,-91.54,30.79,-90.29), (18.27,-90.29,18.67,-66.21), (22.78,-90.29,23.18,-66.21), (9.25,-89.7,9.65,-64.86), (13.76,-89.7,14.16,-64.86), (6.49,-65.03,6.97,-59.01), (11,-65.03,11.48,-56.61), (15.51,-65.03,15.99,-60.61), (20.02,-65.03,20.5,-61.41), (9.25,-64.86,9.77,-64.38), (13.76,-64.86,14.28,-64.38), (9.29,-64.38,9.77,-60.61), (13.8,-64.38,14.28,-61.41), (7.93,-64.21,8.77,-63.73), (12.4,-64.21,12.88,-54.21), (16.91,-64.21,17.39,-59.01), (21.46,-64.21,22.14,-63.73), (8.29,-63.73,8.77,-54.21), (21.66,-63.73,22.14,-51.59), (8.95,-60.29,9.43,-26.87), (13.05,-60.29,13.53,-26.87), (28.97,-60.29,29.45,-52.24), (0.34,-58.69,0.82,-46.87), (23.06,-57.89,23.54,-52.41), (27.57,-57.89,28.05,-52.41), (26.17,-57.09,26.65,-51.59), (6.25,-56.29,6.73,-27.69), (18.55,-56.29,19.03,-27.69), (10.35,-55.49,10.83,-27.69), (14.45,-55.49,14.93,-27.69), (1.74,-53.89,2.22,-47.69), (4.85,-53.89,5.33,-26.87), (17.15,-53.89,17.63,-26.87), (24.46,-53.89,24.94,-52.24), (23.1,-52.41,23.5,-1.42), (27.61,-52.41,28.01,-1.42), (24.42,-52.24,24.94,-51.76), (28.93,-52.24,29.45,-51.76), (24.42,-51.76,24.82,-1.885), (28.93,-51.76,29.33,-1.885), (21.66,-51.59,22.18,-51.11), (26.17,-51.59,26.69,-51.11), (21.78,-51.11,22.18,-1.885), (26.29,-51.11,26.69,-1.885), (1.78,-47.69,2.18,-1.42), (0.34,-46.87,0.86,-46.39), (0.46,-46.39,0.86,-1.885), (3.1,-45.645,3.5,-1.25), (-1,-1.25,30.79,0)])
A(ota_slim_p, via, 7.815, -58.525, 0.15, 0.15, 4, 1, 4.1, 0)
R(ota_slim_p, via, [(13.965,-61.725,14.115,-61.575), (20.185,-61.725,20.335,-61.575), (9.455,-60.925,9.605,-60.775), (15.675,-60.925,15.825,-60.775), (9.115,-60.125,9.265,-59.975), (13.215,-60.125,13.365,-59.975), (29.135,-60.125,29.285,-59.975), (6.655,-59.325,6.805,-59.175), (17.075,-59.325,17.225,-59.175), (21.825,-59.325,21.975,-59.175), (0.505,-58.525,0.655,-58.375), (23.225,-57.725,23.375,-57.575), (27.735,-57.725,27.885,-57.575), (11.165,-56.925,11.315,-56.775), (26.335,-56.925,26.485,-56.775), (6.415,-56.125,6.565,-55.975), (18.715,-56.125,18.865,-55.975), (10.515,-55.325,10.665,-55.175), (14.615,-55.325,14.765,-55.175), (8.455,-54.525,8.605,-54.375), (12.565,-54.525,12.715,-54.375), (1.905,-53.725,2.055,-53.575), (5.015,-53.725,5.165,-53.575), (17.315,-53.725,17.465,-53.575), (24.625,-53.725,24.775,-53.575)])
R(ota_slim_p, met2_5, [(20.72,-61.65,20.82,-61.55), (16.21,-60.85,16.31,-60.75), (29.51,-60.05,29.61,-59.95), (22.36,-59.25,22.46,-59.15), (20.49,-58.45,20.59,-58.35), (25,-53.65,25.1,-53.55)])
A(ota_slim_p, met2_pin, -0.5, -57.65, 0.1, 0.1, 1, 6, 0, 0.8)
R(ota_slim_p, met2, [(12.98,-61.9,21.32,-61.4), (8.47,-61.1,16.81,-60.6), (8.29,-60.3,30.11,-59.8), (5.83,-59.5,22.96,-59), (-0.32,-58.7,21.09,-58.2), (-1,-57.9,28.79,-57.4), (-1,-57.1,27.47,-56.6), (-1,-56.3,19.77,-55.8), (-1,-55.5,15.67,-55), (-1,-54.7,13.62,-54.2), (-1,-53.9,2.96,-53.4), (4.19,-53.9,25.6,-53.4)])
A(ota_slim_p, nsdm, 8.165, -26.575, 0.75, 25.62, 3, 1, 4.1, 0)
ota_slim_p.add(gdstk.Reference(sky130_fd_pr__pfet_01v8_, (1.98,-23.765)))
ota_slim_p.add(gdstk.Reference(sky130_fd_pr__nfet_01v8_, (8.13,-77.955)))
ota_slim_p.add(gdstk.Reference(c_sky130_fd_pr__pfet_01v8_, (6.49,-13.765)))
ota_slim_p.add(gdstk.Reference(sky130_fd_pr__nfet_01v8_, (12.64,-77.955)))
ota_slim_p.add(gdstk.Reference(c_sky130_fd_pr__pfet_01v8_, (10.59,-13.765)))
ota_slim_p.add(gdstk.Reference(sky130_fd_pr__nfet_01v8_, (17.15,-77.955)))
ota_slim_p.add(gdstk.Reference(c_sky130_fd_pr__pfet_01v8_, (14.69,-13.765)))
ota_slim_p.add(gdstk.Reference(sky130_fd_pr__nfet_01v8_, (21.66,-77.955)))
ota_slim_p.add(gdstk.Reference(c_sky130_fd_pr__pfet_01v8_, (18.79,-13.765)))
ota_slim_p.add(gdstk.Reference(c_sky130_fd_pr__pfet_01v8__, (23.3,-26.125)))
ota_slim_p.add(gdstk.Reference(c_sky130_fd_pr__pfet_01v8__, (27.81,-26.125)))
ota_slim_p.add(gdstk.Label('n1', (25.05,-53.6), layer=69, texttype=5))
ota_slim_p.add(gdstk.Label('ntail', (20.54,-58.4), layer=69, texttype=5))
ota_slim_p.add(gdstk.Label('nc1', (22.41,-59.2), layer=69, texttype=5))
ota_slim_p.add(gdstk.Label('n2', (29.56,-60), layer=69, texttype=5))
ota_slim_p.add(gdstk.Label('n3', (16.26,-60.8), layer=69, texttype=5))
ota_slim_p.add(gdstk.Label('n4', (20.77,-61.6), layer=69, texttype=5))
ota_slim_p.add(gdstk.Label('inp', (-0.45,-56), layer=69, texttype=5))
ota_slim_p.add(gdstk.Label('inn', (-0.45,-55.2), layer=69, texttype=5))
ota_slim_p.add(gdstk.Label('out', (-0.45,-56.8), layer=69, texttype=5))
ota_slim_p.add(gdstk.Label('vdd', (14.945,-0.575), layer=68, texttype=5))
ota_slim_p.add(gdstk.Label('vss', (14.945,-90.865), layer=68, texttype=5))
ota_slim_p.add(gdstk.Label('vbp', (-0.45,-53.6), layer=69, texttype=5))
ota_slim_p.add(gdstk.Label('vnc', (-0.45,-54.4), layer=69, texttype=5))
ota_slim_p.add(gdstk.Label('vpc', (-0.45,-57.6), layer=69, texttype=5))

lib.write_gds('ota_slim_p.gds')
